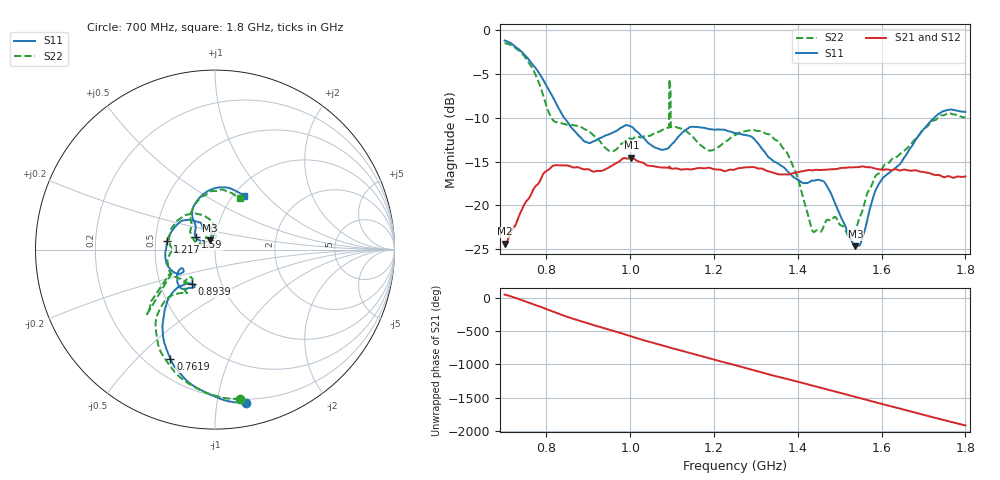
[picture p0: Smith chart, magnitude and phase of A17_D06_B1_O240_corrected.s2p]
! Created with skrf 1.9.0 (http://scikit-rf.org).
# Hz S RI R 50.0
!freq ReS11 ImS11 ReS21 ImS21 ReS12 ImS12 ReS22 ImS22
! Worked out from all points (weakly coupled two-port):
!   1601 points, 700 MHz to 1.8 GHz, reference 50 ohm
!   highest |S21| = -14.56 dB at 1.002 GHz (marker M1); lowest = -24.4 dB at 701.4 MHz (marker M2)
!   lowest |S11| = -24.6 dB at 1.537 GHz (marker M3), VSWR 1.12, Z = 47.2 + j4.96 ohm
!   |S11| at or under -10 dB: 842.3 MHz to 1.725 GHz (883.1 MHz wide, 68.8 % of centre)
!   |S22| runs from -23.5 to -1.5 dB; largest |S21 - S12| = 0.0035
!   S11 on the Smith chart (normalised r, x): 700 MHz: 0.17, -1.21; 761.9 MHz: 0.29, -0.63; 893.9 MHz: 0.72, -0.29; 1.217 GHz: 0.58, +0.06; 1.59 GHz: 0.80, +0.11; 1.8 GHz: 1.12, +0.76
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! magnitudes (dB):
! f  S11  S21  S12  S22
! 700 MHz  -1.2  -24.4  -24.2  -1.5
! 701.4 MHz  -1.2  -24.4  -24.0  -1.5
! 761.9 MHz  -3.6  -18.9  -18.8  -4.0
! 814.8 MHz  -7.6  -15.5  -15.6  -10.2
! 883.6 MHz  -12.4  -15.8  -15.7  -11.1
! 893.9 MHz  -12.7  -15.9  -15.9  -11.4
! 953 MHz  -11.8  -15.6  -15.6  -13.8
! 1.002 GHz  -11.0  -14.6  -14.7  -12.4
! 1.067 GHz  -13.5  -15.6  -15.6  -11.6
! 1.099 GHz  -13.0  -15.8  -15.8  -11.1
! 1.181 GHz  -11.2  -15.7  -15.7  -13.6
! 1.217 GHz  -11.4  -15.9  -16.0  -13.1
! 1.25 GHz  -11.7  -15.9  -15.8  -12.0
! 1.356 GHz  -15.3  -16.5  -16.4  -12.8
! 1.394 GHz  -16.9  -16.3  -16.3  -16.1
! 1.434 GHz  -17.2  -16.0  -16.0  -22.7
! 1.467 GHz  -17.6  -15.9  -15.9  -21.8
! 1.537 GHz  -24.6  -15.6  -15.6  -22.9
! 1.59 GHz  -17.8  -15.9  -15.8  -16.4
! 1.617 GHz  -16.3  -15.9  -15.9  -15.1
! 1.733 GHz  -9.7  -16.5  -16.6  -10.1
! 1.8 GHz  -9.3  -16.7  -16.7  -10.0
